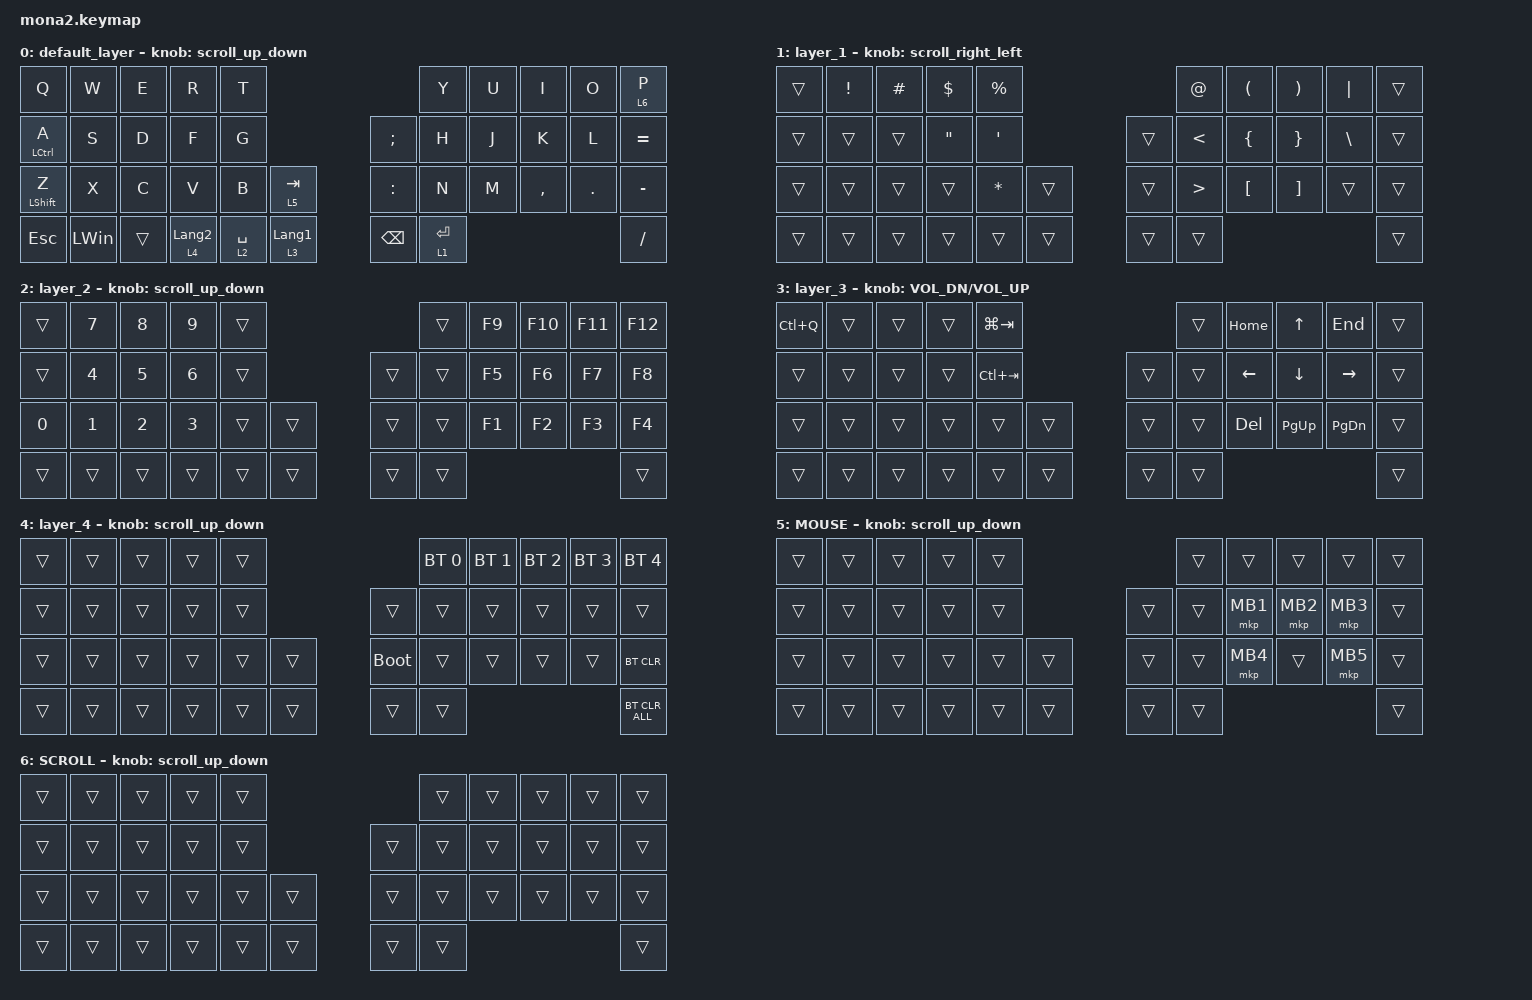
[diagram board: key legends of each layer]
#include <input/processors.dtsi>
#include <dt-bindings/zmk/input_transform.h>
#include <zephyr/dt-bindings/input/input-event-codes.h>
#include <behaviors.dtsi>
#include <dt-bindings/zmk/bt.h>
#include <dt-bindings/zmk/keys.h>
#include <dt-bindings/zmk/pointing.h>

#define ZMK_POINTING_DEFAULT_SCRL_VAL 100
#define MOUSE 5
#define SCROLL 6

&mt {
    flavor = "balanced";
    quick-tap-ms = <0>;
};

&lt {
    quick-tap-ms = <300>;
    flavor = "balanced";
};

/ {
    combos {
        compatible = "zmk,combos";

        layer4_ESC {
            bindings = <&lt 4 ESC>;
            key-positions = <39 38>;
        };

        tab {
            bindings = <&kp TAB>;
            key-positions = <11 12>;
        };
    };

    macros {
        to_layer_0: to_layer_0 {
            compatible = "zmk,behavior-macro-one-param";
            #binding-cells = <1>;
            bindings = <&to 0 &macro_param_1to1 &kp MACRO_PLACEHOLDER>;
            label = "TO_LAYER_0";
        };
    };

    behaviors {
        lt_to_layer_0: lt_to_layer_0 {
            compatible = "zmk,behavior-hold-tap";
            label = "LAYER_TAP_TO_0";
            bindings = <&mo>, <&to_layer_0>;

            #binding-cells = <2>;
            tapping-term-ms = <200>;
        };

        scroll_up_down: mouse_wheel_up_down {
            compatible = "zmk,behavior-sensor-rotate";
            #sensor-binding-cells = <0>;
            bindings = <&msc SCRL_DOWN>, <&msc SCRL_UP>;

            tap-ms = <20>;
        };

        scroll_right_left: mouse_wheel_right_left {
            compatible = "zmk,behavior-sensor-rotate";
            #sensor-binding-cells = <0>;
            bindings = <&msc SCRL_LEFT>, <&msc SCRL_RIGHT>;

            tap-ms = <20>;
        };
    };

    keymap {
        compatible = "zmk,keymap";

        default_layer {
            bindings = <
&kp Q               &kp W         &kp E   &kp R                        &kp T                                                      &kp Y        &kp U  &kp I      &kp O    &lt_to_layer_0 6 P
&mt LEFT_CONTROL A  &kp S         &kp D   &kp F                        &kp G                                       &kp SEMICOLON  &kp H        &kp J  &kp K      &kp L    &kp EQUAL
&mt LEFT_SHIFT Z    &kp X         &kp C   &kp V                        &kp B        &lt_to_layer_0 5 TAB           &kp COLON      &kp N        &kp M  &kp COMMA  &kp DOT  &kp MINUS
&kp ESCAPE          &kp LEFT_WIN  &trans  &lt_to_layer_0 4 LANGUAGE_2  &lt 2 SPACE  &lt_to_layer_0 3 LANGUAGE_1    &kp BACKSPACE  &lt 1 ENTER                             &kp SLASH
            >;

            sensor-bindings = <&scroll_up_down>;
        };

        layer_1 {
            bindings = <
&trans  &kp EXCLAMATION  &kp HASH  &kp DOLLAR         &kp PERCENT                    &kp AT_SIGN       &kp LEFT_PARENTHESIS  &kp RIGHT_PARENTHESIS  &kp PIPE       &trans
&trans  &trans           &trans    &kp DOUBLE_QUOTES  &kp SQT                &trans  &kp LESS_THAN     &kp LEFT_BRACE        &kp RIGHT_BRACE        &kp BACKSLASH  &trans
&trans  &trans           &trans    &trans             &kp ASTRK    &trans    &trans  &kp GREATER_THAN  &kp LEFT_BRACKET      &kp RIGHT_BRACKET      &trans         &trans
&trans  &trans           &trans    &trans             &trans       &trans    &trans  &trans                                                                        &trans
            >;

            sensor-bindings = <&scroll_right_left>;
        };

        layer_2 {
            bindings = <
&trans        &kp NUMBER_7  &kp NUMBER_8  &kp NUMBER_9  &trans                    &trans  &kp F9  &kp F10  &kp F11  &kp F12
&trans        &kp NUMBER_4  &kp NUMBER_5  &kp NUMBER_6  &trans            &trans  &trans  &kp F5  &kp F6   &kp F7   &kp F8
&kp NUMBER_0  &kp NUMBER_1  &kp NUMBER_2  &kp NUMBER_3  &trans  &trans    &trans  &trans  &kp F1  &kp F2   &kp F3   &kp F4
&trans        &trans        &trans        &trans        &trans  &trans    &trans  &trans                            &trans
            >;

            sensor-bindings = <&scroll_up_down>;
        };

        layer_3 {
            bindings = <
&kp LC(Q)  &trans  &trans  &trans  &kp LG(TAB)                    &trans  &kp HOME        &kp UP_ARROW    &kp END          &trans
&trans     &trans  &trans  &trans  &kp LC(TAB)            &trans  &trans  &kp LEFT_ARROW  &kp DOWN_ARROW  &kp RIGHT_ARROW  &trans
&trans     &trans  &trans  &trans  &trans       &trans    &trans  &trans  &kp DELETE      &kp PAGE_UP     &kp PAGE_DOWN    &trans
&trans     &trans  &trans  &trans  &trans       &trans    &trans  &trans                                                   &trans
            >;

            sensor-bindings = <&inc_dec_kp C_VOL_DN C_VOL_UP>;
        };

        layer_4 {
            bindings = <
&trans  &trans  &trans  &trans  &trans                         &bt BT_SEL 0  &bt BT_SEL 1  &bt BT_SEL 2  &bt BT_SEL 3  &bt BT_SEL 4
&trans  &trans  &trans  &trans  &trans            &trans       &trans        &trans        &trans        &trans        &trans
&trans  &trans  &trans  &trans  &trans  &trans    &bootloader  &trans        &trans        &trans        &trans        &bt BT_CLR
&trans  &trans  &trans  &trans  &trans  &trans    &trans       &trans                                                  &bt BT_CLR_ALL
            >;

            sensor-bindings = <&scroll_up_down>;
        };

        MOUSE {
            bindings = <
&trans  &trans  &trans  &trans  &trans                    &trans  &trans    &trans    &trans    &trans
&trans  &trans  &trans  &trans  &trans            &trans  &trans  &mkp MB1  &mkp MB2  &mkp MB3  &trans
&trans  &trans  &trans  &trans  &trans  &trans    &trans  &trans  &mkp MB4  &trans    &mkp MB5  &trans
&trans  &trans  &trans  &trans  &trans  &trans    &trans  &trans                                &trans
            >;

            sensor-bindings = <&scroll_up_down>;
        };

        SCROLL {
            bindings = <
&trans  &trans  &trans  &trans  &trans                    &trans  &trans  &trans  &trans  &trans
&trans  &trans  &trans  &trans  &trans            &trans  &trans  &trans  &trans  &trans  &trans
&trans  &trans  &trans  &trans  &trans  &trans    &trans  &trans  &trans  &trans  &trans  &trans
&trans  &trans  &trans  &trans  &trans  &trans    &trans  &trans                          &trans
            >;

            sensor-bindings = <&scroll_up_down>;
        };
    };
};
